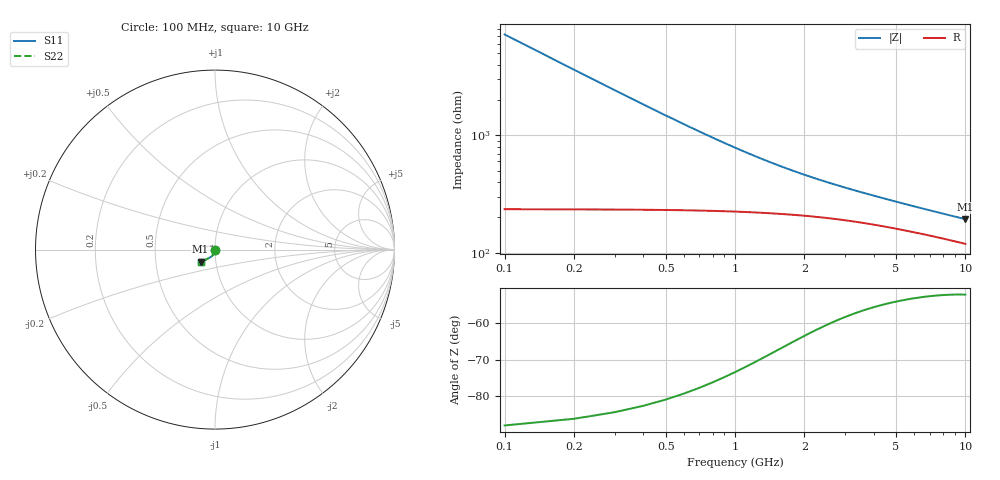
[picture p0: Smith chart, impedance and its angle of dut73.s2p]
! Touchstone file exported from HFSS 2024.1.0
!  File:  C:/UserFiles/LocalFiles/RDL_TSV_Batchsim/temp_TSV1_73_1778750405.aedt
!  Generated:  05:24:52 PM May 14, 2026
!  Design:  TSV1
!  Project:  temp_TSV1_73_1778750405
!  Setup:  Setup1
!  Solution:  Sweep
! Variables:
!  dtsv = 23.93um
!  hbump = 3um
!  htsv = 76.1um
!  lrdl = 252.1521522um
!  p = 40
!  p1 = 55.18um
!  t = 500um
!  trdl = 3um
!  wrdl = 24.89489489um
# GHz S MA R 50.000000
! Terminal data exported
! Port[1] = TSV22_T1
! Port[2] = TSV22_T2
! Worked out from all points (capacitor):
!   100 points, 100 MHz to 10 GHz, reference 50 ohm
!   read as one part in shunt: C = 220 fF near 100 MHz
!   lowest |Z| = 193 ohm at 10 GHz (marker M1)
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0.1  0.003193 -90.8  0.9998 -0.2  0.9998 -0.2  0.003193 -90.8
! Gamma 0 0 0 0
! Port Impedance 50 0 50 0
0.2  0.006366 -93.5  0.9994 -0.4  0.9994 -0.4  0.006366 -93.5
0.3  0.009504 -95.8  0.9988 -0.6  0.9988 -0.6  0.009504 -95.8
0.4  0.01259 -97.9  0.998 -0.8  0.998 -0.8  0.01259 -97.9
0.5  0.01561 -99.9  0.997 -1.0  0.997 -1.0  0.01561 -99.9
0.6  0.01854 -101.9  0.9959 -1.2  0.9959 -1.2  0.01854 -101.9
0.7  0.02139 -103.7  0.9946 -1.4  0.9946 -1.4  0.02139 -103.7
0.8  0.02414 -105.5  0.9932 -1.6  0.9932 -1.6  0.02414 -105.5
0.9  0.02678 -107.2  0.9917 -1.7  0.9917 -1.7  0.02678 -107.2
1.1  0.03173 -110.4  0.9887 -2.0  0.9887 -2.0  0.03173 -110.4
1.4  0.03836 -114.6  0.9839 -2.4  0.9839 -2.4  0.03836 -114.6
1.6  0.04227 -117.0  0.9808 -2.6  0.9808 -2.6  0.04227 -117.0
1.8  0.04583 -119.2  0.9779 -2.8  0.9779 -2.8  0.04583 -119.2
2.1  0.05059 -121.9  0.9736 -3.0  0.9736 -3.0  0.05059 -121.9
2.5  0.05607 -124.9  0.9685 -3.3  0.9685 -3.3  0.05607 -124.9
2.9  0.06081 -127.2  0.9639 -3.6  0.9639 -3.6  0.06081 -127.2
3.4  0.06599 -129.5  0.9589 -3.8  0.9589 -3.8  0.06599 -129.5
4.2  0.0731 -132.1  0.9521 -4.2  0.9521 -4.2  0.0731 -132.1
5.1  0.07991 -134.3  0.9457 -4.6  0.9457 -4.6  0.07991 -134.3
6.7  0.08996 -136.9  0.9364 -5.3  0.9364 -5.3  0.08996 -136.9
8.4  0.09866 -138.7  0.9285 -6.0  0.9285 -6.0  0.09866 -138.7
10  0.1056 -139.9  0.9225 -6.6  0.9225 -6.6  0.1056 -139.9
